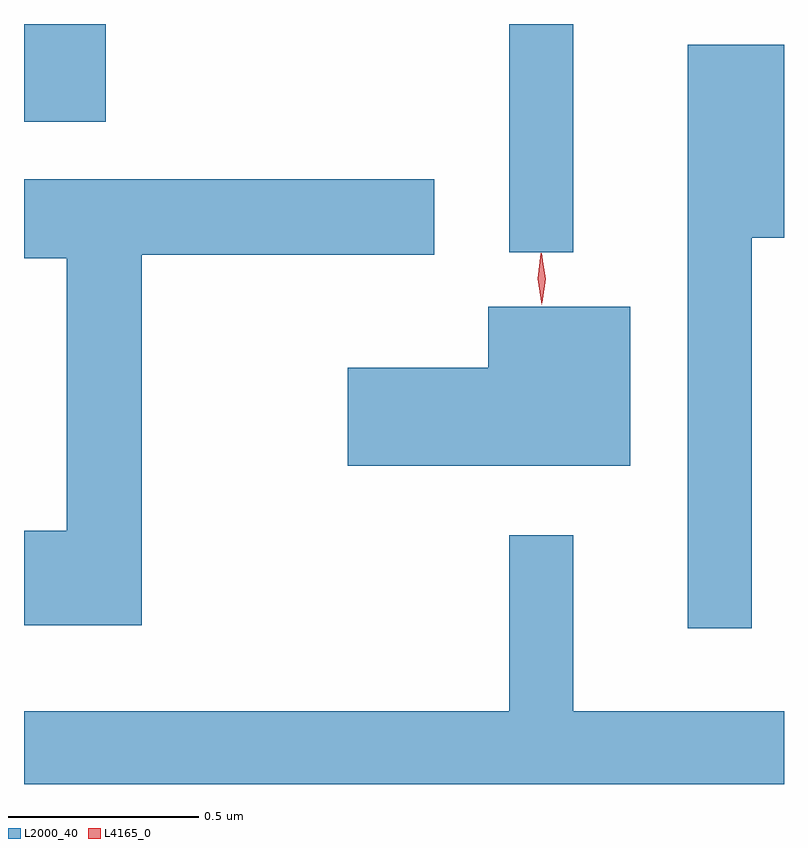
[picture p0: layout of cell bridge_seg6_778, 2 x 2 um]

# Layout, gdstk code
import gdstk
lib = gdstk.Library(unit=1e-6, precision=1e-09)
def R(c, l, rs):  # rectangles x0, y0, x1, y1
    for r in rs: c.add(gdstk.rectangle(r[:2], r[2:], *l))
def P(c, l, *ps):  # polygons
    for p in ps: c.add(gdstk.Polygon(p, *l))
L2000_40 = (2000, 40)
L4165_0 = (4165, 0)

bridge_seg6_778 = lib.new_cell('bridge_seg6_778')
R(bridge_seg6_778, L2000_40, [(413.301,1584.813,413.469,1585.413), (412.024,1585.156,412.239,1585.413)])
P(bridge_seg6_778, L2000_40, [(413.939,1584.851),(414.024,1584.851),(414.024,1585.359),(413.771,1585.359),(413.771,1583.823),(413.939,1583.823)],
  [(412.334,1584.806),(413.104,1584.806),(413.104,1585.004),(412.024,1585.004),(412.024,1584.796),(412.136,1584.796),(412.136,1584.079),(412.024,1584.079),(412.024,1583.831),(412.334,1583.831)],
  [(413.619,1584.669),(413.246,1584.669),(413.246,1584.509),(412.876,1584.509),(412.876,1584.251),(413.619,1584.251)],
  [(414.024,1583.604),(413.469,1583.604),(413.469,1584.068),(413.301,1584.068),(413.301,1583.604),(412.024,1583.604),(412.024,1583.413),(414.024,1583.413)])
P(bridge_seg6_778, L4165_0, [(413.386,1584.674),(413.386,1584.674),(413.376,1584.742),(413.384,1584.81),(413.385,1584.81),(413.386,1584.81),(413.396,1584.742),(413.387,1584.674)],
  [(413.387,1584.68),(413.387,1584.68),(413.377,1584.743),(413.386,1584.806),(413.386,1584.807),(413.387,1584.806),(413.397,1584.743),(413.388,1584.68)])

lib.write_gds('bridge_seg6_778.gds')
